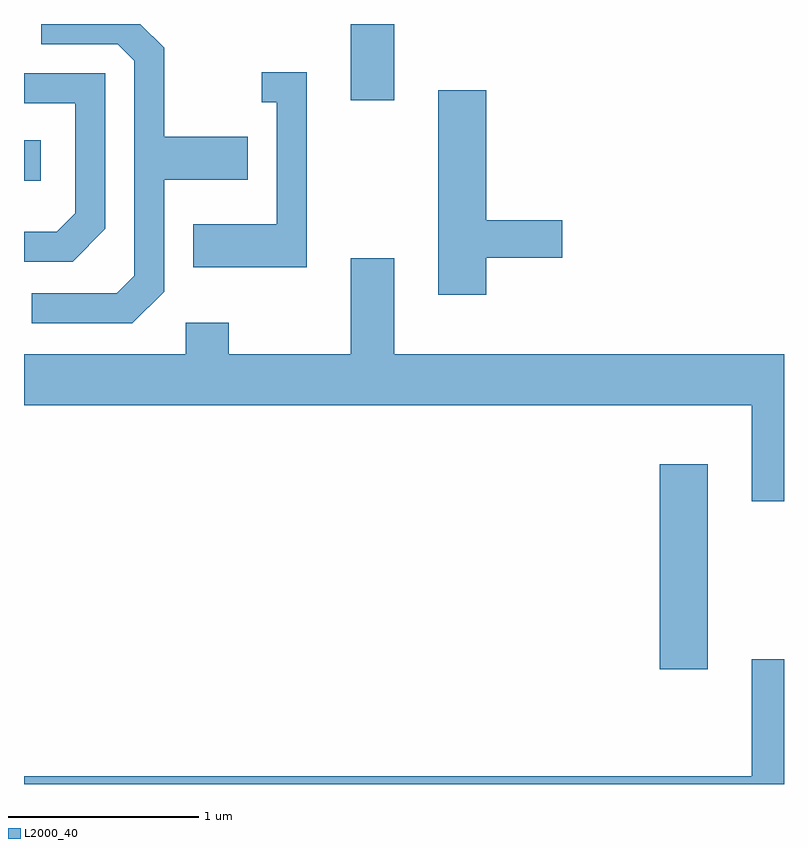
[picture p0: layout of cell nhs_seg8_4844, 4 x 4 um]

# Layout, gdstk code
import gdstk
lib = gdstk.Library(unit=1e-6, precision=1e-09)
def R(c, l, rs):  # rectangles x0, y0, x1, y1
    for r in rs: c.add(gdstk.rectangle(r[:2], r[2:], *l))
def P(c, l, *ps):  # polygons
    for p in ps: c.add(gdstk.Polygon(p, *l))
L2000_40 = (2000, 40)

nhs_seg8_4844 = lib.new_cell('nhs_seg8_4844')
R(nhs_seg8_4844, L2000_40, [(332.956,1914.946,333.209,1916.024), (329.611,1917.516,329.699,1917.729), (331.331,1917.941,331.559,1918.342)])
P(nhs_seg8_4844, L2000_40, [(330.349,1916.934),(330.349,1917.521),(330.789,1917.521),(330.789,1917.749),(330.349,1917.749),(330.349,1918.217),(330.224,1918.342),(329.703,1918.342),(329.703,1918.236),(330.104,1918.236),(330.191,1918.149),(330.191,1917.017),(330.099,1916.924),(329.653,1916.924),(329.653,1916.766),(330.182,1916.766)],
  [(331.099,1918.089),(330.863,1918.089),(330.863,1917.931),(330.941,1917.931),(330.941,1917.289),(330.501,1917.289),(330.501,1917.061),(331.099,1917.061)],
  [(330.039,1917.264),(330.039,1918.084),(329.611,1918.084),(329.611,1917.926),(329.881,1917.926),(329.881,1917.347),(329.784,1917.249),(329.611,1917.249),(329.611,1917.091),(329.867,1917.091)],
  [(332.044,1917.111),(332.444,1917.111),(332.444,1917.309),(332.044,1917.309),(332.044,1917.994),(331.791,1917.994),(331.791,1916.916),(332.044,1916.916)],
  [(333.611,1916.604),(331.559,1916.604),(331.559,1917.109),(331.331,1917.109),(331.331,1916.604),(330.689,1916.604),(330.689,1916.769),(330.461,1916.769),(330.461,1916.604),(329.611,1916.604),(329.611,1916.336),(333.441,1916.336),(333.441,1915.831),(333.611,1915.831)],
  [(333.611,1914.999),(333.441,1914.999),(333.441,1914.384),(329.611,1914.384),(329.611,1914.342),(333.611,1914.342)])

lib.write_gds('nhs_seg8_4844.gds')
